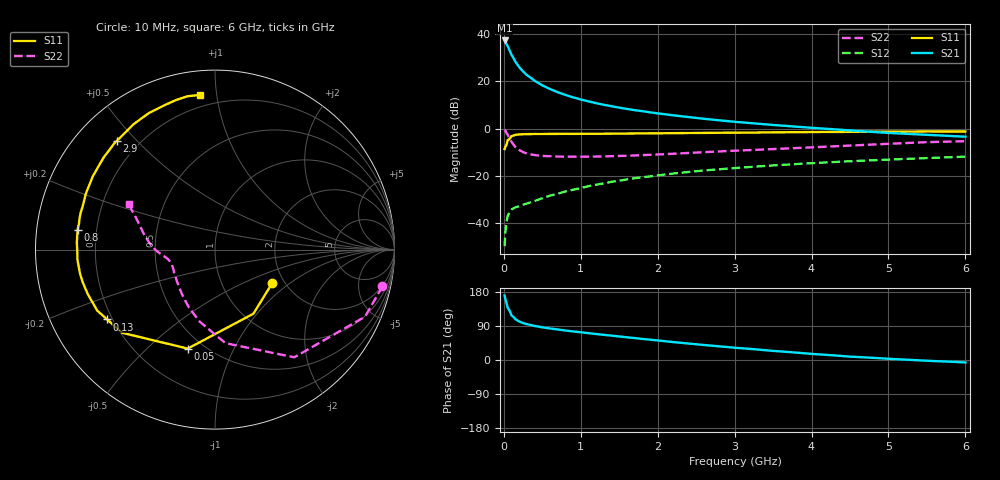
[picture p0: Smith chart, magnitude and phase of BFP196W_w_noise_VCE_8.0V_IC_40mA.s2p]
! (c) 2017  Infineon Technologies AG, Munich
! Infineon Technologies  Discrete & RF Semiconductors
! BFP196W
! VCE =  8.0 V,  IC =  40 mA
! Common Emitter S-Parameters:  Jan 2017
# GHz  S  MA  R  50
!  f  S11  S21  S12  S22
! GHz  MAG  ANG  MAG  ANG  MAG  ANG  MAG  ANG
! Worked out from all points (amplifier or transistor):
!   77 points, 10 MHz to 6 GHz, reference 50 ohm
!   highest |S21| = 37.2 dB at 10 MHz (marker M1)
!   |S21| within 3 dB of that: start of sweep to 58.37 MHz
!   unconditionally stable (mu >= 1): 804.5 MHz to 3.267 GHz
!   at 130 MHz: K = 0.36, MSG = 31.5 dB, |S12| = -33.6 dB
!   at 2.2 GHz: K = 1.04, MAG = 11.1 dB, |S12| = -19.0 dB
!   at 6 GHz: K = 0.92, MSG = 4.2 dB, |S12| = -11.9 dB
!   lowest NFmin = 1.24 dB at 450 MHz
!   S11 on the Smith chart (normalised r, x): 10 MHz: 1.72, -0.75; 50 MHz: 0.41, -0.68; 130 MHz: 0.18, -0.29; 800 MHz: 0.13, +0.07; 2.9 GHz: 0.12, +0.44; 6 GHz: 0.13, +0.90
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0.01  0.3694 -30.7  72.24 170.2  0.0033 81.3  0.955 -12.4
0.02  0.4164 -59.1  69.05 160.1  0.0066 75.8  0.9158 -24.1
0.05  0.5719 -105.4  54.61 137.6  0.0144 53.7  0.7452 -53.6
0.1  0.6952 -138.2  35.89 117.6  0.0196 43.2  0.5245 -83.6
0.13  0.716 -147.1  29.67 112.5  0.0209 40.9  0.4499 -93.6
0.15  0.7389 -152.6  25.7 107.8  0.0218 39.5  0.4099 -102.1
0.2  0.751 -160.7  19.77 101.7  0.0229 41.2  0.3534 -114.3
0.25  0.7593 -166.2  16.01 97.4  0.0248 41.1  0.3184 -123.6
0.3  0.764 -170.0  13.43 94.5  0.0262 44.0  0.2974 -130.5
0.4  0.7683 -175.7  10.19 89.7  0.0296 47.3  0.2758 -140.2
0.5  0.7676 -179.5  8.163 86.2  0.0339 51.3  0.265 -146.7
0.6  0.7706 177.1  6.826 83.2  0.0384 53.6  0.2606 -151.3
0.7  0.7714 174.3  5.851 80.6  0.0421 56.0  0.2565 -154.7
0.8  0.774 171.7  5.127 77.8  0.0471 57.7  0.2552 -157.1
1.1  0.7763 164.9  3.745 70.9  0.0609 59.4  0.2555 -162.3
1.5  0.7838 156.9  2.759 62.1  0.0795 59.5  0.2641 -167.2
2.1  0.7966 145.4  1.997 49.5  0.1076 56.7  0.2887 -173.1
2.9  0.8161 132.0  1.44 34.3  0.1425 51.1  0.3348 179.7
3.1  0.8193 129.0  1.348 30.9  0.1506 49.5  0.3461 177.8
4.1  0.8454 114.7  1.012 14.8  0.1896 41.4  0.408 167.2
5.1  0.8619 103.8  0.794 2.2  0.2245 33.7  0.4845 157.1
6  0.866 95.4  0.673 -6.4  0.2555 26.9  0.5412 151.7
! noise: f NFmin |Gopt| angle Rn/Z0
0.45  1.24  0.48  -179  0.06
0.9  1.39  0.54  -173  0.06
1.9  2.21  0.69  -150  0.14
2.4  2.61  0.73  -145  0.23
